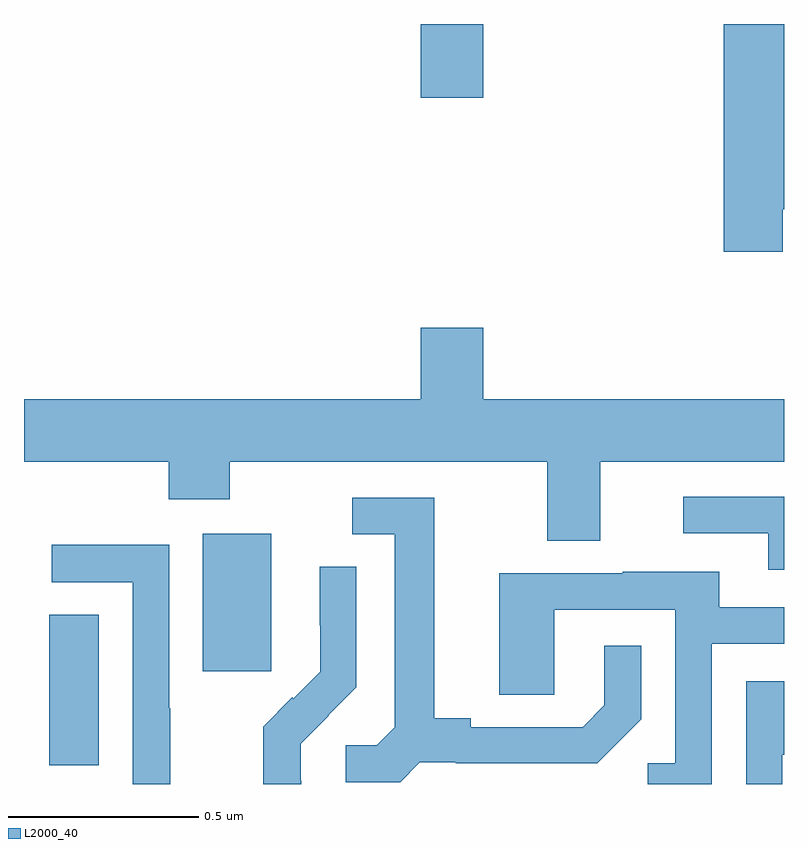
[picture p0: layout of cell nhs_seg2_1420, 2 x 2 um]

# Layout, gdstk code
import gdstk
lib = gdstk.Library(unit=1e-6, precision=1e-09)
def R(c, l, rs):  # rectangles x0, y0, x1, y1
    for r in rs: c.add(gdstk.rectangle(r[:2], r[2:], *l))
def P(c, l, *ps):  # polygons
    for p in ps: c.add(gdstk.Polygon(p, *l))
L2000_40 = (2000, 40)

nhs_seg2_1420 = lib.new_cell('nhs_seg2_1420')
R(nhs_seg2_1420, L2000_40, [(128.066,634.849,128.197,635.246), (128.471,635.097,128.65,635.458), (129.044,636.606,129.208,636.8)])
P(nhs_seg2_1420, L2000_40, [(129.997,636.313),(130,636.313),(130,636.8),(129.842,636.8),(129.842,636.201),(129.997,636.201)],
  [(129.517,635.648),(130,635.648),(130,635.812),(129.208,635.812),(129.208,636.001),(129.044,636.001),(129.044,635.812),(128,635.812),(128,635.648),(128.381,635.648),(128.381,635.549),(128.541,635.549),(128.541,635.648),(129.377,635.648),(129.377,635.44),(129.517,635.44)],
  [(130,635.556),(129.735,635.556),(129.735,635.46),(129.959,635.46),(129.959,635.364),(130,635.364)],
  [(129.042,634.857),(129.136,634.857),(129.136,634.854),(129.508,634.854),(129.624,634.97),(129.624,635.164),(129.527,635.164),(129.527,635.007),(129.47,634.95),(129.175,634.95),(129.175,634.973),(129.079,634.973),(129.079,635.553),(128.864,635.553),(128.864,635.457),(128.975,635.457),(128.975,634.949),(128.928,634.902),(128.847,634.902),(128.847,634.805),(128.99,634.805)],
  [(128.385,635),(128.382,635),(128.382,635.43),(128.073,635.43),(128.073,635.331),(128.286,635.331),(128.286,634.8),(128.385,634.8)],
  [(128.73,634.809),(128.728,634.809),(128.728,634.906),(128.802,634.98),(128.801,634.981),(128.874,635.054),(128.874,635.372),(128.778,635.372),(128.778,635.218),(128.78,635.218),(128.78,635.096),(128.709,635.025),(128.706,635.028),(128.629,634.951),(128.629,634.8),(128.73,634.8)],
  [(129.81,635.169),(130,635.169),(130,635.265),(129.829,635.265),(129.829,635.359),(129.575,635.359),(129.575,635.355),(129.251,635.355),(129.251,635.035),(129.396,635.035),(129.396,635.259),(129.714,635.259),(129.714,634.854),(129.642,634.854),(129.642,634.8),(129.81,634.8)],
  [(129.996,634.877),(130,634.877),(130,635.07),(129.9,635.07),(129.9,634.8),(129.996,634.8)])

lib.write_gds('nhs_seg2_1420.gds')
